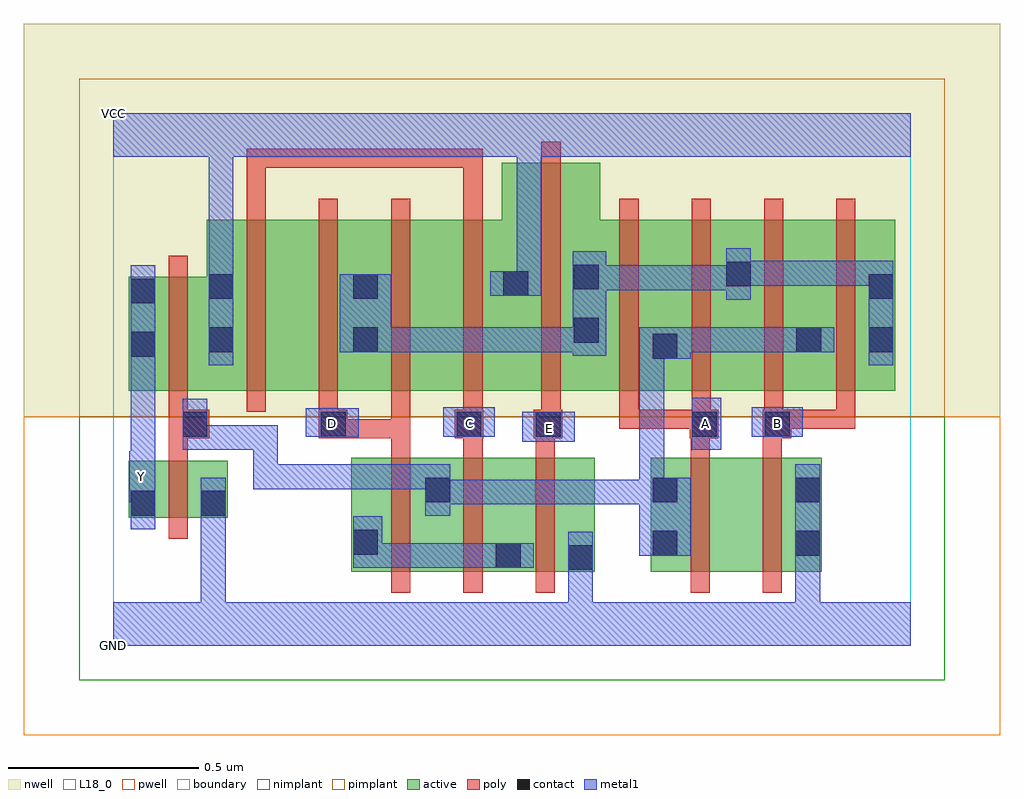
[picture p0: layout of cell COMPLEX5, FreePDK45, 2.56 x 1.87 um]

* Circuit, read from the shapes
.subckt COMPLEX5 A B C D E GND VCC Y
M1 GND n1 Y VSUBS nfet w=0.15u l=0.05u
M2 n1 D n2 VSUBS nfet w=0.3u l=0.05u
M3 n2 C n1 VSUBS nfet w=0.3u l=0.05u
M4 GND E n2 VSUBS nfet w=0.3u l=0.05u
M5 n3 A n1 VSUBS nfet w=0.3u l=0.05u
M6 GND B n3 VSUBS nfet w=0.3u l=0.05u
M7 VCC n1 Y n4 pfet w=0.3u l=0.05u
M8 n5 C VCC n4 pfet w=0.45u l=0.05u
M9 n6 D n5 n4 pfet w=0.45u l=0.05u
M10 n7 D n6 n4 pfet w=0.45u l=0.05u
M11 VCC C n7 n4 pfet w=0.45u l=0.05u
M12 n6 E VCC n4 pfet w=0.6u l=0.05u
M13 n1 A n6 n4 pfet w=0.45u l=0.05u m=2
M14 n1 B n6 n4 pfet w=0.45u l=0.05u m=2
.ends

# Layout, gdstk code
import gdstk
lib = gdstk.Library(unit=1e-6, precision=1e-09)
def R(c, l, rs):  # rectangles x0, y0, x1, y1
    for r in rs: c.add(gdstk.rectangle(r[:2], r[2:], *l))
def A(c, l, x, y, w, h, nx, ny, dx, dy):  # array of equal rectangles
    R(c, l, [(x+i*dx, y+j*dy, x+i*dx+w, y+j*dy+h) for i in range(nx) for j in range(ny)])
active = (1, 0)
pwell = (2, 0)
nwell = (3, 0)
nimplant = (4, 0)
pimplant = (5, 0)
poly = (9, 0)
contact = (10, 0)
metal1 = (11, 0)
L18_0 = (18, 0)
boundary = (235, 0)

complex5 = lib.new_cell('COMPLEX5')
R(complex5, active, [(0.625,0.195,0.89,0.495), (0.815,0.195,1.075,0.495), (1,0.195,1.265,0.495), (1.19,0.195,1.265,0.495), (1.412,0.195,1.637,0.495), (1.637,0.195,1.862,0.495), (1.787,0.195,1.862,0.495), (0.625,0.2,0.7,0.495), (1,0.2,1.075,0.392), (1.412,0.2,1.487,0.495), (0.815,0.247,0.89,0.447), (0.04,0.337,0.115,0.487), (0.04,0.337,0.3,0.487), (0.225,0.337,0.3,0.487), (0.04,0.67,0.115,0.97), (0.04,0.67,0.32,0.97), (0.245,0.67,0.47,1.12), (0.245,0.67,0.32,1.12), (0.47,0.67,0.7,1.12), (0.625,0.67,0.85,1.12), (0.625,0.67,0.7,1.12), (0.85,0.67,1.095,1.12), (1.02,0.67,1.28,1.27), (1.205,0.67,1.487,1.12), (1.205,0.67,1.28,1.2), (1.412,0.67,1.487,1.07), (1.412,0.67,1.68,1.12), (1.605,0.67,1.865,1.12), (1.79,0.67,2.055,1.12), (1.79,0.67,1.865,1.07), (1.98,0.67,2.055,1.107), (1.605,0.702,1.68,1.107), (1.02,0.722,1.095,1.27)])
R(complex5, pwell, [(-0.235,-0.235,2.33,0.602)])
R(complex5, nwell, [(-0.235,0.602,2.33,1.635)])
R(complex5, nimplant, [(-0.09,-0.09,2.185,0.602)])
R(complex5, pimplant, [(-0.09,0.602,2.185,1.49)])
A(complex5, poly, 0.73, 0.14, 0.05, 0.41, 3, 1, 0.19, 0)
A(complex5, poly, 0.73, 0.5, 0.05, 0.095, 3, 1, 0.19, 0)
A(complex5, poly, 0.92, 0.57, 0.05, 0.095, 3, 1, 0.205, 0)
A(complex5, poly, 1.52, 0.57, 0.05, 0.095, 3, 1, 0.19, 0)
A(complex5, poly, 0.35, 0.615, 0.05, 0.56, 4, 1, 0.19, 0)
A(complex5, poly, 1.33, 0.615, 0.05, 0.56, 4, 1, 0.19, 0)
R(complex5, poly, [(1.517,0.14,1.567,0.55), (1.707,0.14,1.757,0.55), (0.145,0.282,0.195,0.542), (0.145,0.492,0.195,0.595), (1.517,0.5,1.567,0.595), (1.707,0.5,1.757,0.595), (0.145,0.545,0.252,0.62), (0.54,0.545,0.615,0.62), (0.565,0.545,0.615,0.595), (0.565,0.545,0.615,0.595), (0.565,0.545,0.78,0.595), (0.73,0.545,0.78,0.595), (0.73,0.545,0.78,0.665), (0.897,0.545,0.972,0.62), (1.105,0.545,1.18,0.62), (1.515,0.545,1.59,0.62), (1.707,0.545,1.782,0.62), (0.145,0.57,0.195,0.665), (0.54,0.57,0.59,0.665), (1.33,0.57,1.38,0.62), (1.33,0.57,1.565,0.62), (1.515,0.57,1.565,0.62), (1.515,0.57,1.565,0.62), (1.732,0.57,1.95,0.62), (1.732,0.57,1.782,0.62), (1.732,0.57,1.782,0.62), (1.9,0.57,1.95,0.62), (0.145,0.615,0.195,1.025), (1.125,0.615,1.175,1.325), (0.35,1.125,0.4,1.307), (0.92,1.125,0.97,1.307), (0.35,1.257,0.4,1.307), (0.35,1.257,0.4,1.307), (0.35,1.257,0.4,1.307), (0.35,1.257,0.647,1.307), (0.597,1.257,0.815,1.307), (0.597,1.257,0.647,1.307), (0.765,1.257,0.815,1.307), (0.765,1.257,0.815,1.307), (0.765,1.257,0.815,1.307), (0.765,1.257,0.97,1.307), (0.92,1.257,0.97,1.307), (0.92,1.257,0.97,1.307), (0.92,1.257,0.97,1.307)])
R(complex5, contact, [(1.195,0.2,1.26,0.265), (1.005,0.205,1.07,0.27), (1.417,0.237,1.482,0.302), (1.792,0.237,1.857,0.302), (0.63,0.24,0.695,0.305), (0.045,0.342,0.11,0.407), (0.23,0.342,0.295,0.407), (0.82,0.377,0.885,0.442), (1.417,0.377,1.482,0.442), (1.792,0.377,1.857,0.442), (0.182,0.55,0.247,0.615), (0.545,0.55,0.61,0.615), (0.902,0.55,0.967,0.615), (1.11,0.55,1.175,0.615), (1.52,0.55,1.585,0.615), (1.712,0.55,1.777,0.615), (1.417,0.755,1.482,0.82), (0.045,0.76,0.11,0.825), (0.25,0.772,0.315,0.837), (0.63,0.772,0.695,0.837), (1.795,0.772,1.86,0.837), (1.985,0.772,2.05,0.837), (1.21,0.797,1.275,0.862), (0.045,0.9,0.11,0.965), (0.25,0.912,0.315,0.977), (0.63,0.912,0.695,0.977), (1.985,0.912,2.05,0.977), (1.025,0.92,1.09,0.985), (1.21,0.937,1.275,1.002), (1.61,0.945,1.675,1.01)])
R(complex5, metal1, [(0,0,2.095,0.115), (0.23,0.05,0.295,0.115), (0.23,0.05,0.295,0.115), (0.23,0.05,0.295,0.115), (0.23,0.05,0.295,0.115), (0.23,0.05,0.295,0.372), (1.195,0.05,1.26,0.115), (1.195,0.05,1.26,0.115), (1.195,0.05,1.26,0.23), (1.792,0.05,1.857,0.115), (1.792,0.05,1.857,0.115), (1.792,0.05,1.857,0.267), (1.195,0.165,1.26,0.3), (1.792,0.202,1.857,0.477), (0.63,0.205,0.707,0.34), (0.642,0.205,0.707,0.27), (0.642,0.205,0.707,0.27), (0.642,0.205,0.897,0.27), (0.832,0.205,0.897,0.27), (0.832,0.205,0.897,0.27), (0.832,0.205,0.897,0.27), (0.832,0.205,1.035,0.27), (0.97,0.205,1.105,0.27), (1.382,0.237,1.517,0.442), (0.045,0.307,0.11,0.442), (0.23,0.307,0.295,0.442), (0.82,0.342,0.885,0.477), (0.82,0.372,0.885,0.437), (0.82,0.372,0.885,0.437), (0.82,0.372,1.122,0.437), (1.057,0.372,1.122,0.437), (1.057,0.372,1.122,0.437), (1.057,0.372,1.122,0.437), (1.057,0.372,1.31,0.437), (1.245,0.372,1.31,0.437), (1.245,0.372,1.31,0.437), (1.245,0.372,1.31,0.437), (1.245,0.372,1.447,0.437), (0.042,0.377,0.11,0.512), (0.045,0.377,0.11,0.442), (1.382,0.377,1.447,0.442), (1.382,0.377,1.447,0.442), (1.382,0.377,1.447,0.82), (0.367,0.412,0.432,0.477), (0.367,0.412,0.57,0.477), (0.367,0.412,0.432,0.58), (0.505,0.412,0.57,0.477), (0.505,0.412,0.57,0.477), (0.505,0.412,0.57,0.477), (0.505,0.412,0.707,0.477), (0.642,0.412,0.707,0.477), (0.642,0.412,0.885,0.477), (0.045,0.447,0.11,0.79), (0.182,0.515,0.247,0.58), (0.182,0.515,0.247,0.58), (0.182,0.515,0.247,0.65), (0.182,0.515,0.432,0.58), (0.367,0.515,0.432,0.58), (0.367,0.515,0.432,0.58), (0.367,0.515,0.432,0.58), (1.52,0.515,1.597,0.652), (1.075,0.537,1.212,0.615), (0.505,0.55,0.645,0.625), (0.867,0.55,1.002,0.627), (1.677,0.55,1.812,0.627), (0.045,0.725,0.11,1), (0.25,0.737,0.315,1.012), (1.985,0.737,2.05,1.012), (1.382,0.755,1.517,0.837), (1.207,0.762,1.295,1.037), (0.595,0.772,0.73,0.977), (0.665,0.772,0.73,0.837), (0.665,0.772,0.73,0.837), (0.665,0.772,0.897,0.837), (0.832,0.772,0.897,0.837), (0.832,0.772,0.897,0.837), (0.832,0.772,0.897,0.837), (0.832,0.772,1.122,0.837), (1.057,0.772,1.122,0.837), (1.057,0.772,1.122,0.837), (1.057,0.772,1.135,0.837), (1.07,0.772,1.272,0.837), (1.452,0.772,1.517,0.837), (1.452,0.772,1.517,0.837), (1.452,0.772,1.687,0.837), (1.622,0.772,1.687,0.837), (1.622,0.772,1.687,0.837), (1.622,0.772,1.687,0.837), (1.622,0.772,1.825,0.837), (1.76,0.772,1.895,0.837), (1.61,0.91,1.675,1.045), (0.99,0.92,1.125,0.985), (1.06,0.92,1.125,1.35), (1.23,0.935,1.295,1), (1.23,0.935,1.295,1), (1.23,0.935,1.295,1), (1.23,0.935,1.537,1), (1.23,0.935,1.295,1.037), (1.472,0.935,1.537,1), (1.472,0.935,1.537,1), (1.472,0.935,1.537,1), (1.472,0.935,1.675,1), (0.25,0.947,0.315,1.35), (1.61,0.947,1.912,1.012), (1.847,0.947,1.912,1.012), (1.847,0.947,1.912,1.012), (1.847,0.947,1.912,1.012), (1.847,0.947,2.05,1.012), (1.985,0.947,2.05,1.012), (1.985,0.947,2.05,1.012), (0,1.285,2.095,1.4), (0.25,1.285,0.315,1.35), (0.25,1.285,0.315,1.35)])
R(complex5, L18_0, [(0,0,2.095,0.115), (0.23,0.05,0.295,0.115), (0.23,0.05,0.295,0.115), (0.23,0.05,0.295,0.115), (0.23,0.05,0.295,0.115), (0.23,0.05,0.295,0.372), (1.195,0.05,1.26,0.115), (1.195,0.05,1.26,0.115), (1.195,0.05,1.26,0.23), (1.792,0.05,1.857,0.115), (1.792,0.05,1.857,0.115), (1.792,0.05,1.857,0.267), (1.195,0.165,1.26,0.3), (1.792,0.202,1.857,0.477), (0.045,0.307,0.11,0.442), (0.23,0.307,0.295,0.442), (0.042,0.377,0.11,0.512), (0.045,0.377,0.11,0.442), (0.042,0.412,0.107,0.477), (0.045,0.447,0.11,0.79), (1.52,0.515,1.597,0.652), (1.075,0.537,1.212,0.615), (1.112,0.537,1.177,0.602), (0.505,0.55,0.645,0.625), (0.867,0.55,1.002,0.627), (1.677,0.55,1.812,0.627), (0.542,0.552,0.607,0.617), (0.902,0.552,0.967,0.617), (1.522,0.552,1.587,0.617), (1.712,0.552,1.777,0.617), (0.045,0.725,0.11,1), (0.25,0.737,0.315,1.012), (0.99,0.92,1.125,0.985), (1.06,0.92,1.125,1.35), (0.25,0.947,0.315,1.35), (0,1.285,2.095,1.4), (0.25,1.285,0.315,1.35), (0.25,1.285,0.315,1.35)])
R(complex5, boundary, [(0,0,2.095,1.4)])
complex5.add(gdstk.Label('A', (1.555,0.585), layer=11, texttype=0))
complex5.add(gdstk.Label('B', (1.745,0.585), layer=11, texttype=0))
complex5.add(gdstk.Label('C', (0.935,0.585), layer=11, texttype=0))
complex5.add(gdstk.Label('D', (0.575,0.585), layer=11, texttype=0))
complex5.add(gdstk.Label('E', (1.145,0.57), layer=11, texttype=0))
complex5.add(gdstk.Label('Y', (0.075,0.445), layer=11, texttype=0))
complex5.add(gdstk.Label('VCC', (0,1.4), layer=11, texttype=0))
complex5.add(gdstk.Label('GND', (0,0), layer=11, texttype=0))

lib.write_gds('COMPLEX5.gds')
